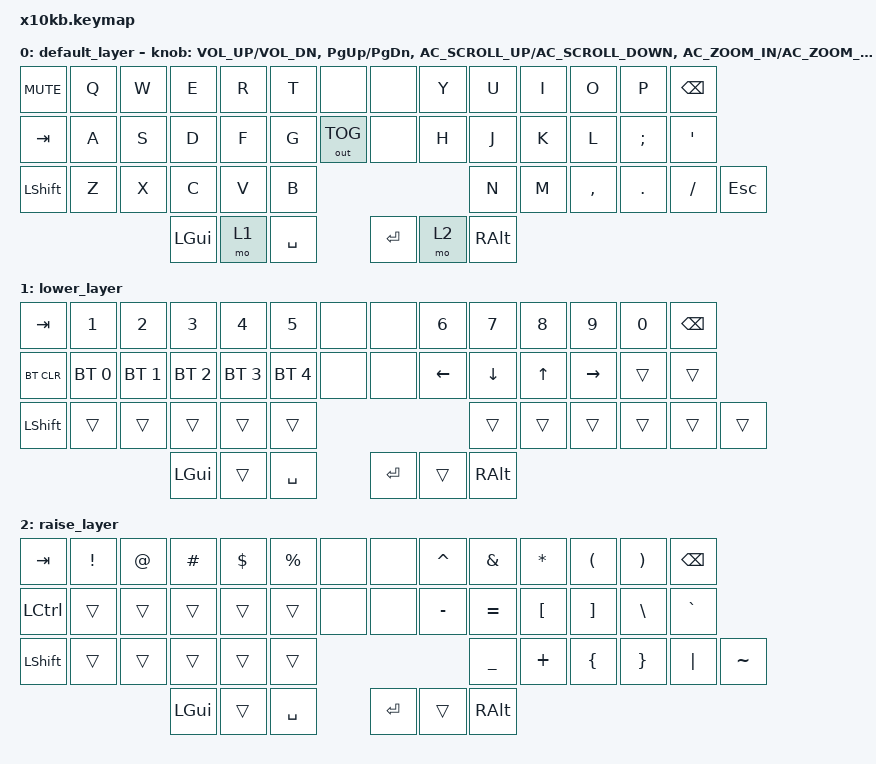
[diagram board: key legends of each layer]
/*
 * Copyright (c) 2020 The ZMK Contributors
 *
 * SPDX-License-Identifier: MIT
 */

#include <behaviors.dtsi>
#include <dt-bindings/zmk/keys.h>
#include <dt-bindings/zmk/bt.h>
#include <dt-bindings/zmk/outputs.h>

/ {
        keymap {
                compatible = "zmk,keymap";

                default_layer {
// -----------------------------------------------------------------------------------------
// |  TAB |  Q  |  W  |  E  |  R  |  T  |     |   |     |  Y  |  U   |  I  |  O  |  P  | BKSP |
// | CTRL |  A  |  S  |  D  |  F  |  G  |     |   |     |  H  |  J   |  K  |  L  |  ;  |  '   |
// | SHFT |  Z  |  X  |  C  |  V  |  B  |     |   |     |  N  |  M   |  ,  |  .  |  /  | ESC  |
//                          | GUI | LWR | SPC |   | ENT | RSE  | ALT |
                        bindings = <
   &kp C_MUTE &kp Q &kp W &kp E &kp R &kp T &none &none  &kp Y &kp U  &kp I     &kp O   &kp P    &kp BSPC
   &kp TAB  &kp A &kp S &kp D &kp F &kp G  &out OUT_TOG &none    &kp H &kp J  &kp K     &kp L   &kp SEMI &kp SQT
   &kp LSHFT &kp Z &kp X &kp C &kp V &kp B                &kp N &kp M  &kp COMMA &kp DOT &kp FSLH &kp ESC
                  &kp LGUI &mo 1 &kp SPACE   &kp RET &mo 2 &kp RALT
                        >;
                        sensor-bindings = <&inc_dec_kp C_VOL_UP C_VOL_DN &inc_dec_kp PAGE_UP PAGE_DOWN &inc_dec_kp C_AC_SCROLL_UP C_AC_SCROLL_DOWN &inc_dec_kp C_AC_ZOOM_IN C_AC_ZOOM_OUT>;
                };
                lower_layer {
// -----------------------------------------------------------------------------------------
// |  TAB |  1  |  2  |  3  |  4  |  5  |   |  6  |  7  |  8  |  9  |  0  | BKSP |
// | BTCLR| BT1 | BT2 | BT3 | BT4 | BT5 |   | LFT | DWN |  UP | RGT |     |      |
// | SHFT |     |     |     |     |     |   |     |     |     |     |     |      |
//                    | GUI |     | SPC |   | ENT |     | ALT |
                        bindings = <
   &kp TAB    &kp N1       &kp N2       &kp N3       &kp N4       &kp N5   &none &none  &kp N6   &kp N7   &kp N8 &kp N9    &kp N0 &kp BSPC
   &bt BT_CLR &bt BT_SEL 0 &bt BT_SEL 1 &bt BT_SEL 2 &bt BT_SEL 3 &bt BT_SEL 4  &none &none    &kp LEFT &kp DOWN &kp UP &kp RIGHT &trans &trans
   &kp LSHFT  &trans       &trans       &trans       &trans       &trans                       &trans   &trans   &trans &trans    &trans &trans
                                    &kp LGUI     &trans       &kp SPACE      &kp RET  &trans   &kp RALT
                        >;
                };

                raise_layer {
// -----------------------------------------------------------------------------------------
// |  TAB |  !  |  @  |  #  |  $  |  %  |   |  ^  |  &  |  *  |  (  |  )  | BKSP |
// | CTRL |     |     |     |     |     |   |  -  |  =  |  [  |  ]  |  \  |  `   |
// | SHFT |     |     |     |     |     |   |  _  |  +  |  {  |  }  | "|" |  ~   |
//                    | GUI |     | SPC |   | ENT |     | ALT |
                        bindings = <
   &kp  TAB  &kp EXCL &kp AT &kp HASH &kp DLLR &kp PRCNT  &none &none    &kp CARET &kp AMPS  &kp ASTRK &kp LPAR &kp RPAR &kp BSPC
   &kp LCTRL &trans   &trans &trans   &trans   &trans  &none &none       &kp MINUS &kp EQUAL &kp LBKT  &kp RBKT &kp BSLH &kp GRAVE
   &kp LSHFT &trans   &trans &trans   &trans   &trans                    &kp UNDER &kp PLUS  &kp LBRC  &kp RBRC &kp PIPE &kp TILDE
                             &kp LGUI &trans   &kp SPACE   &kp RET   &trans    &kp RALT
                        >;
                };
        };
};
